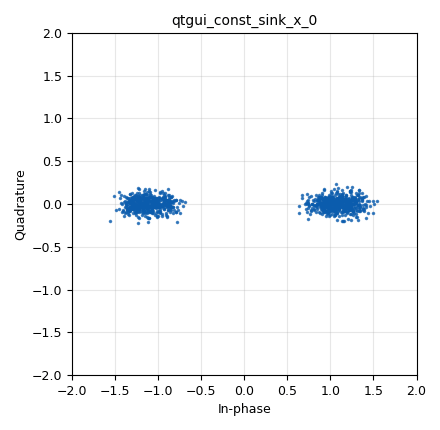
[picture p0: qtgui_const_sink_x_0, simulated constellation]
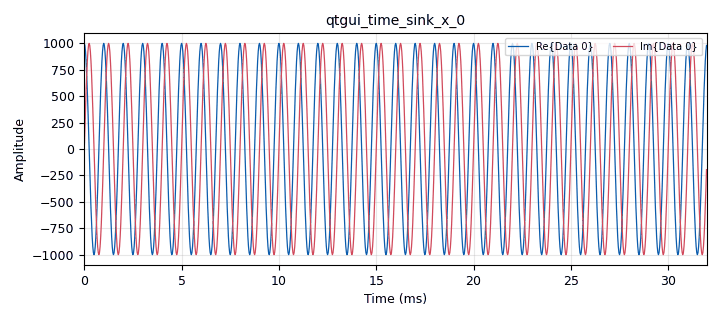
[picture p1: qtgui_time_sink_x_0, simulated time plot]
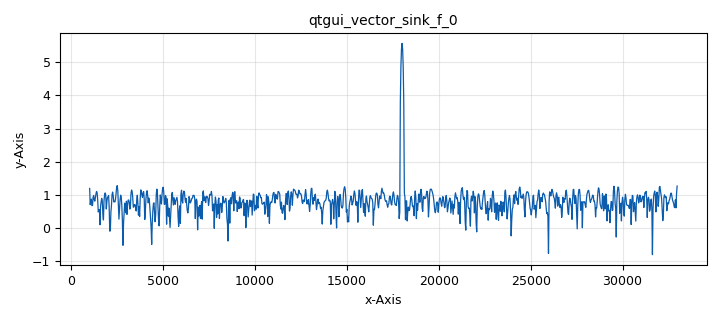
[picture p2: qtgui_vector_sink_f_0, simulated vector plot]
options:
  parameters:
    generate_options: qt_gui
    id: dynamic_freq
    output_language: python
    title: Not titled yet
  states: {}

blocks:
- name: amplitude
  id: variable_qtgui_range
  parameters:
    outputmsgname: value
    showports: 'False'
    start: '0'
    step: '1'
    stop: '10000'
    value: '1'
  states: {state: disabled}
- name: amplitude
  id: variable_qtgui_check_box
  parameters:
    'false': '0'
    'true': '1000'
    type: int
    value: '1000'
  states: {}
- name: samp_rate
  id: variable
  parameters:
    value: '32000'
  states: {}
- name: start_freq
  id: variable
  parameters:
    value: '-16000'
  states: {state: disabled}
- name: start_freq
  id: variable_qtgui_range
  parameters:
    outputmsgname: value
    showports: 'False'
    start: '-16000'
    step: '100'
    stop: '16000'
    value: '1000'
  states: {}
- name: step
  id: variable
  parameters:
    value: samp_rate/1024
  states: {}
- name: variable_qtgui_label_0
  id: variable_qtgui_label
  parameters:
    label: Hola
    type: int
    value: amplitude
  states: {}
- name: vec_len
  id: variable
  parameters:
    value: '1024'
  states: {}
- name: /Users/marcos/Documents/research/relia/python_mod.py
  id: epy_module
  parameters:
    source_code: '# this module will be imported in the into your flowgraph'
  states: {state: disabled}
- name: analog_noise_source_x_0
  id: analog_noise_source_x
  parameters:
    amp: '0.1'
    noise_type: analog.GR_GAUSSIAN
    seed: '0'
    type: complex
  states: {}
- name: analog_noise_source_x_1
  id: analog_noise_source_x
  parameters:
    amp: '0.5'
    noise_type: analog.GR_GAUSSIAN
    seed: '0'
    type: complex
  states: {}
- name: analog_random_uniform_source_x_0
  id: analog_random_uniform_source_x
  parameters:
    maximum: '256'
    minimum: '0'
    seed: '0'
    type: byte
  states: {}
- name: analog_sig_source_x_0
  id: analog_sig_source_x
  parameters:
    amp: amplitude
    freq: start_freq
    offset: '0'
    phase: '0'
    samp_rate: samp_rate
    type: complex
    waveform: analog.GR_COS_WAVE
  states: {}
- name: blocks_add_xx_0
  id: blocks_add_xx
  parameters:
    type: complex
  states: {}
- name: blocks_add_xx_1
  id: blocks_add_xx
  parameters:
    type: complex
  states: {}
- name: blocks_complex_to_mag_0
  id: blocks_complex_to_mag
  parameters:
    vlen: vec_len
  states: {}
- name: blocks_nlog10_ff_0
  id: blocks_nlog10_ff
  parameters:
    k: '0'
    n: '1'
    vlen: vec_len
  states: {}
- name: blocks_stream_to_vector_0
  id: blocks_stream_to_vector
  parameters:
    num_items: vec_len
    type: complex
  states: {}
- name: blocks_throttle_0
  id: blocks_throttle
  parameters:
    samples_per_second: samp_rate
    type: byte
  states: {}
- name: blocks_throttle_1
  id: blocks_throttle
  parameters:
    samples_per_second: samp_rate
    type: complex
  states: {}
- name: blocks_throttle_1_0
  id: blocks_throttle
  parameters:
    samples_per_second: samp_rate
    type: complex
  states: {}
- name: digital_clock_recovery_mm_xx_0
  id: digital_clock_recovery_mm_xx
  parameters:
    gain_mu: '0.175'
    gain_omega: 0.25*0.175*0.175
    mu: '0.5'
    omega: '4'
    omega_relative_limit: '0.005'
    type: complex
  states: {}
- name: digital_costas_loop_cc_0
  id: digital_costas_loop_cc
  parameters:
    order: '2'
    w: '0.05'
  states: {}
- name: digital_psk_mod_0
  id: digital_psk_mod
  parameters:
    constellation_points: '2'
    differential: 'True'
    excess_bw: '0.35'
    mod_code: '"gray"'
    samples_per_symbol: '4'
  states: {}
- name: fft_vxx_0
  id: fft_vxx
  parameters:
    fft_size: vec_len
    forward: 'True'
    shift: 'True'
    type: complex
    window: window.blackmanharris(1024)
  states: {}
- name: qtgui_const_sink_x_0
  id: qtgui_const_sink_x
  parameters:
    size: '1024'
    type: complex
  states: {}
- name: qtgui_time_sink_x_0
  id: qtgui_time_sink_x
  parameters:
    autoscale: 'True'
    size: '1024'
    srate: samp_rate
    type: complex
    ymax: '2'
    ymin: '-2'
  states: {}
- name: qtgui_vector_sink_f_0
  id: qtgui_vector_sink_f
  parameters:
    autoscale: 'True'
    grid: 'True'
    vlen: vec_len
    x_start: start_freq
    x_step: step
  states: {}

connections:
- [analog_noise_source_x_0, '0', blocks_add_xx_0, '1']
- [analog_noise_source_x_1, '0', blocks_add_xx_1, '0']
- [analog_random_uniform_source_x_0, '0', blocks_throttle_0, '0']
- [analog_sig_source_x_0, '0', blocks_add_xx_1, '1']
- [analog_sig_source_x_0, '0', blocks_throttle_1_0, '0']
- [blocks_add_xx_0, '0', digital_costas_loop_cc_0, '0']
- [blocks_add_xx_1, '0', blocks_throttle_1, '0']
- [blocks_complex_to_mag_0, '0', blocks_nlog10_ff_0, '0']
- [blocks_nlog10_ff_0, '0', qtgui_vector_sink_f_0, '0']
- [blocks_stream_to_vector_0, '0', fft_vxx_0, '0']
- [blocks_throttle_0, '0', digital_psk_mod_0, '0']
- [blocks_throttle_1, '0', blocks_stream_to_vector_0, '0']
- [blocks_throttle_1_0, '0', qtgui_time_sink_x_0, '0']
- [digital_clock_recovery_mm_xx_0, '0', qtgui_const_sink_x_0, '0']
- [digital_costas_loop_cc_0, '0', digital_clock_recovery_mm_xx_0, '0']
- [digital_psk_mod_0, '0', blocks_add_xx_0, '0']
- [fft_vxx_0, '0', blocks_complex_to_mag_0, '0']

metadata:
  file_format: 1
  grc_version: 3.10.4.0
